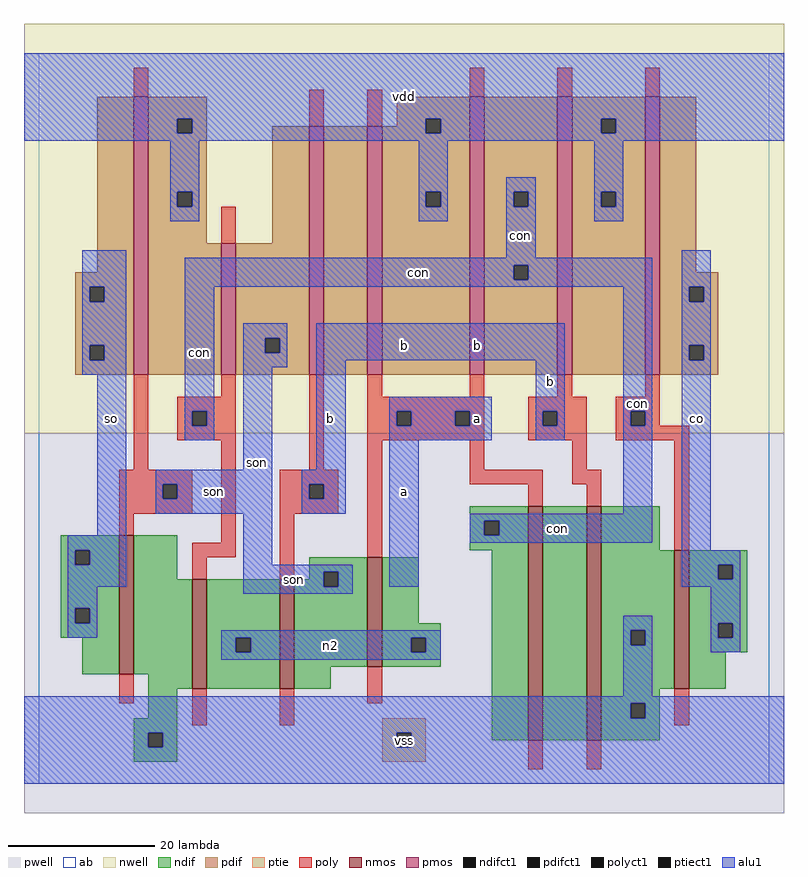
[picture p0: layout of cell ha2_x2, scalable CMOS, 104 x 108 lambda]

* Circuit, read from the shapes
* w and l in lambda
.subckt ha2_x2 a b co con n2 so son vdd vss
M1 vss son so vss nfet w=19 l=2
M2 n2 con vss vss nfet w=15 l=2
M3 son b n2 vss nfet w=15 l=2
M4 n2 a son vss nfet w=15 l=2
M5 n1 a con vss nfet w=32 l=2
M6 vss b n1 vss nfet w=32 l=2
M7 co con vss vss nfet w=19 l=2
M8 vdd son so n3 pfet w=38 l=2
M9 son con vdd n3 pfet w=18 l=2
M10 n4 b son n3 pfet w=34 l=2
M11 vdd a n4 n3 pfet w=34 l=2
M12 con a vdd n3 pfet w=38 l=2
M13 vdd b con n3 pfet w=38 l=2
M14 co con vdd n3 pfet w=38 l=2
.ends

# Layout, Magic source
magic
tech scmos
<< ab >>
rect 0 0 100 100
<< nwell >>
rect -2 48 102 104
<< pwell >>
rect -2 -4 102 48
<< poly >>
rect 13 94 15 98
rect 37 90 39 95
rect 45 90 47 95
rect 59 94 61 98
rect 71 94 73 98
rect 83 94 85 98
rect 25 74 27 79
rect 13 43 15 56
rect 25 53 27 56
rect 19 51 27 53
rect 19 49 21 51
rect 23 49 27 51
rect 19 47 27 49
rect 11 41 21 43
rect 11 39 17 41
rect 19 39 21 41
rect 11 37 21 39
rect 11 34 13 37
rect 25 33 27 47
rect 37 43 39 56
rect 45 53 47 56
rect 59 53 61 56
rect 71 53 73 56
rect 83 53 85 56
rect 45 51 61 53
rect 45 49 49 51
rect 51 49 57 51
rect 59 49 61 51
rect 45 47 61 49
rect 67 51 75 53
rect 67 49 69 51
rect 71 49 75 51
rect 67 47 75 49
rect 79 51 85 53
rect 79 49 81 51
rect 83 49 85 51
rect 79 47 89 49
rect 21 31 27 33
rect 33 41 41 43
rect 33 39 37 41
rect 39 39 41 41
rect 33 37 41 39
rect 21 28 23 31
rect 33 28 35 37
rect 45 31 47 47
rect 59 43 61 47
rect 73 43 75 47
rect 59 41 69 43
rect 73 41 77 43
rect 67 38 69 41
rect 75 38 77 41
rect 11 11 13 15
rect 21 8 23 13
rect 33 8 35 13
rect 45 11 47 16
rect 87 32 89 47
rect 87 8 89 13
rect 67 2 69 6
rect 75 2 77 6
<< ndif >>
rect 3 32 11 34
rect 3 30 5 32
rect 7 30 11 32
rect 3 24 11 30
rect 3 22 5 24
rect 7 22 11 24
rect 3 20 11 22
rect 6 15 11 20
rect 13 28 19 34
rect 59 36 67 38
rect 59 34 61 36
rect 63 34 67 36
rect 59 32 67 34
rect 37 29 45 31
rect 37 28 39 29
rect 13 15 21 28
rect 15 13 21 15
rect 23 20 33 28
rect 23 18 27 20
rect 29 18 33 20
rect 23 13 33 18
rect 35 27 39 28
rect 41 27 45 29
rect 35 16 45 27
rect 47 22 52 31
rect 47 20 55 22
rect 47 18 51 20
rect 53 18 55 20
rect 47 16 55 18
rect 35 13 40 16
rect 15 9 19 13
rect 13 7 19 9
rect 13 5 15 7
rect 17 5 19 7
rect 13 3 19 5
rect 62 6 67 32
rect 69 6 75 38
rect 77 32 85 38
rect 77 21 87 32
rect 77 19 81 21
rect 83 19 87 21
rect 77 13 87 19
rect 89 30 97 32
rect 89 28 93 30
rect 95 28 97 30
rect 89 22 97 28
rect 89 20 93 22
rect 95 20 97 22
rect 89 18 97 20
rect 89 13 94 18
rect 77 11 85 13
rect 77 9 81 11
rect 83 9 85 11
rect 77 6 85 9
<< pdif >>
rect 8 70 13 94
rect 5 68 13 70
rect 5 66 7 68
rect 9 66 13 68
rect 5 60 13 66
rect 5 58 7 60
rect 9 58 13 60
rect 5 56 13 58
rect 15 91 23 94
rect 15 89 19 91
rect 21 89 23 91
rect 49 91 59 94
rect 49 90 53 91
rect 15 81 23 89
rect 15 79 19 81
rect 21 79 23 81
rect 15 74 23 79
rect 32 74 37 90
rect 15 56 25 74
rect 27 61 37 74
rect 27 59 31 61
rect 33 59 37 61
rect 27 56 37 59
rect 39 56 45 90
rect 47 89 53 90
rect 55 89 59 91
rect 47 81 59 89
rect 47 79 53 81
rect 55 79 59 81
rect 47 56 59 79
rect 61 81 71 94
rect 61 79 65 81
rect 67 79 71 81
rect 61 71 71 79
rect 61 69 65 71
rect 67 69 71 71
rect 61 56 71 69
rect 73 91 83 94
rect 73 89 77 91
rect 79 89 83 91
rect 73 81 83 89
rect 73 79 77 81
rect 79 79 83 81
rect 73 56 83 79
rect 85 70 90 94
rect 85 68 93 70
rect 85 66 89 68
rect 91 66 93 68
rect 85 60 93 66
rect 85 58 89 60
rect 91 58 93 60
rect 85 56 93 58
<< alu1 >>
rect -2 91 102 100
rect -2 89 19 91
rect 21 89 53 91
rect 55 89 77 91
rect 79 89 102 91
rect -2 88 102 89
rect 18 81 22 88
rect 18 79 19 81
rect 21 79 22 81
rect 18 77 22 79
rect 52 81 56 88
rect 52 79 53 81
rect 55 79 56 81
rect 52 77 56 79
rect 64 81 68 83
rect 64 79 65 81
rect 67 79 68 81
rect 6 68 12 73
rect 64 72 68 79
rect 76 81 80 88
rect 76 79 77 81
rect 79 79 80 81
rect 76 77 80 79
rect 6 66 7 68
rect 9 66 12 68
rect 6 60 12 66
rect 6 58 7 60
rect 9 58 12 60
rect 6 56 12 58
rect 8 34 12 56
rect 20 71 84 72
rect 20 69 65 71
rect 67 69 84 71
rect 20 68 84 69
rect 20 51 24 68
rect 20 49 21 51
rect 23 49 24 51
rect 20 47 24 49
rect 28 61 34 63
rect 28 59 31 61
rect 33 59 34 61
rect 28 57 34 59
rect 38 58 72 63
rect 28 43 32 57
rect 38 43 42 58
rect 16 41 32 43
rect 16 39 17 41
rect 19 39 32 41
rect 16 37 32 39
rect 36 41 42 43
rect 36 39 37 41
rect 39 39 42 41
rect 36 37 42 39
rect 48 51 62 53
rect 48 49 49 51
rect 51 49 57 51
rect 59 49 62 51
rect 48 47 62 49
rect 68 51 72 58
rect 68 49 69 51
rect 71 49 72 51
rect 68 47 72 49
rect 80 51 84 68
rect 80 49 81 51
rect 83 49 84 51
rect 4 32 12 34
rect 4 30 5 32
rect 7 30 12 32
rect 4 27 12 30
rect 28 30 32 37
rect 28 29 43 30
rect 28 27 39 29
rect 41 27 43 29
rect 48 27 52 47
rect 80 37 84 49
rect 59 36 84 37
rect 59 34 61 36
rect 63 34 84 36
rect 59 33 84 34
rect 88 68 92 73
rect 88 66 89 68
rect 91 66 92 68
rect 88 60 92 66
rect 88 58 89 60
rect 91 58 92 60
rect 88 32 92 58
rect 88 30 96 32
rect 88 28 93 30
rect 95 28 96 30
rect 88 27 96 28
rect 4 24 8 27
rect 28 26 43 27
rect 4 22 5 24
rect 7 22 8 24
rect 4 20 8 22
rect 80 21 84 23
rect 25 20 55 21
rect 25 18 27 20
rect 29 18 51 20
rect 53 18 55 20
rect 25 17 55 18
rect 80 19 81 21
rect 83 19 84 21
rect 80 12 84 19
rect 92 22 96 27
rect 92 20 93 22
rect 95 20 96 22
rect 92 18 96 20
rect -2 11 102 12
rect -2 9 81 11
rect 83 9 102 11
rect -2 7 102 9
rect -2 5 15 7
rect 17 5 49 7
rect 51 5 102 7
rect -2 0 102 5
<< ptie >>
rect 47 7 53 9
rect 47 5 49 7
rect 51 5 53 7
rect 47 3 53 5
<< nmos >>
rect 11 15 13 34
rect 21 13 23 28
rect 33 13 35 28
rect 45 16 47 31
rect 67 6 69 38
rect 75 6 77 38
rect 87 13 89 32
<< pmos >>
rect 13 56 15 94
rect 25 56 27 74
rect 37 56 39 90
rect 45 56 47 90
rect 59 56 61 94
rect 71 56 73 94
rect 83 56 85 94
<< polyct1 >>
rect 21 49 23 51
rect 17 39 19 41
rect 49 49 51 51
rect 57 49 59 51
rect 69 49 71 51
rect 81 49 83 51
rect 37 39 39 41
<< ndifct1 >>
rect 5 30 7 32
rect 5 22 7 24
rect 61 34 63 36
rect 27 18 29 20
rect 39 27 41 29
rect 51 18 53 20
rect 15 5 17 7
rect 81 19 83 21
rect 93 28 95 30
rect 93 20 95 22
rect 81 9 83 11
<< ptiect1 >>
rect 49 5 51 7
<< pdifct1 >>
rect 7 66 9 68
rect 7 58 9 60
rect 19 89 21 91
rect 19 79 21 81
rect 31 59 33 61
rect 53 89 55 91
rect 53 79 55 81
rect 65 79 67 81
rect 65 69 67 71
rect 77 89 79 91
rect 77 79 79 81
rect 89 66 91 68
rect 89 58 91 60
<< labels >>
rlabel alu1 10 50 10 50 6 so
rlabel alu1 24 40 24 40 6 son
rlabel alu1 22 59 22 59 6 con
rlabel alu1 30 44 30 44 6 son
rlabel ptiect1 50 6 50 6 6 vss
rlabel alu1 40 19 40 19 6 n2
rlabel alu1 35 28 35 28 6 son
rlabel alu1 50 40 50 40 6 a
rlabel alu1 40 50 40 50 6 b
rlabel alu1 50 60 50 60 6 b
rlabel alu1 50 94 50 94 6 vdd
rlabel alu1 60 50 60 50 6 a
rlabel alu1 70 55 70 55 6 b
rlabel alu1 60 60 60 60 6 b
rlabel alu1 66 75 66 75 6 con
rlabel alu1 71 35 71 35 6 con
rlabel alu1 90 50 90 50 6 co
rlabel alu1 82 52 82 52 6 con
rlabel alu1 52 70 52 70 6 con
<< end >>
